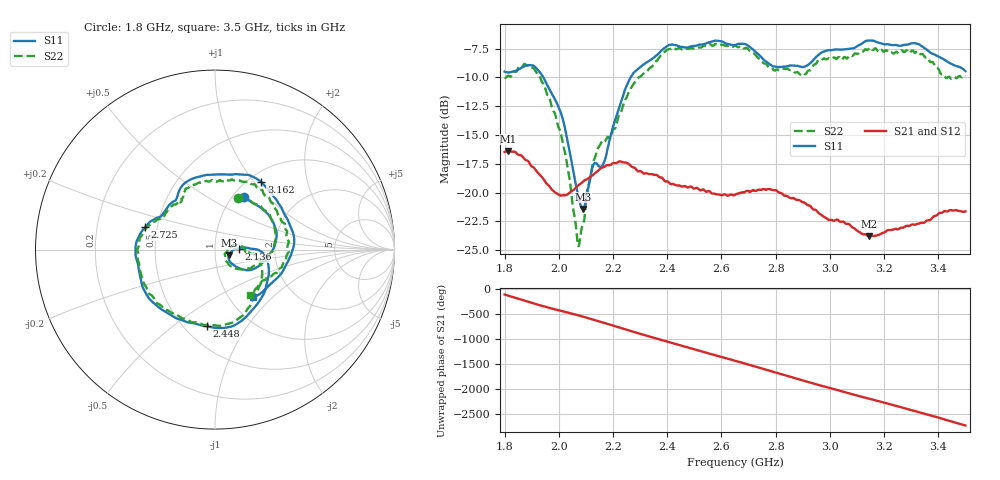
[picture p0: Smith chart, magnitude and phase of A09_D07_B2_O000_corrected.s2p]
! Created with skrf 1.9.0 (http://scikit-rf.org).
# Hz S RI R 50.0
!freq ReS11 ImS11 ReS21 ImS21 ReS12 ImS12 ReS22 ImS22
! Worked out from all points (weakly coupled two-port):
!   1601 points, 1.8 GHz to 3.5 GHz, reference 50 ohm
!   highest |S21| = -16.38 dB at 1.814 GHz (marker M1); lowest = -23.8 dB at 3.144 GHz (marker M2)
!   lowest |S11| = -21.4 dB at 2.089 GHz (marker M3), VSWR 1.19, Z = 58.5 - j3.68 ohm
!   |S11| at or under -10 dB: 1.943 GHz to 2.265 GHz (321.7 MHz wide, 15.3 % of centre)
!   |S22| runs from -24.7 to -7.1 dB; largest |S21 - S12| = 0.0029
!   S11 on the Smith chart (normalised r, x): 1.8 GHz: 1.12, +0.74; 2.136 GHz: 1.31, +0.01; 2.448 GHz: 0.64, -0.67; 2.725 GHz: 0.43, +0.13; 3.162 GHz: 1.14, +1.09; 3.5 GHz: 1.27, -0.76
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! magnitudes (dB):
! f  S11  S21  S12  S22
! 1.8 GHz  -9.5  -16.5  -16.5  -10.0
! 1.814 GHz  -9.6  -16.4  -16.4  -9.8
! 1.879 GHz  -9.0  -17.2  -17.2  -8.9
! 1.942 GHz  -10.0  -18.8  -18.8  -10.5
! 2.011 GHz  -13.3  -20.2  -20.2  -15.3
! 2.068 GHz  -19.8  -19.4  -19.5  -24.0
! 2.084 GHz  -21.3  -19.2  -19.1  -23.2
! 2.089 GHz  -21.4  -19.1  -19.1  -22.8
! 2.136 GHz  -17.4  -18.3  -18.3  -16.8
! 2.167 GHz  -17.4  -17.8  -17.8  -15.5
! 2.265 GHz  -10.0  -17.7  -17.7  -10.9
! 2.367 GHz  -7.9  -18.6  -18.5  -8.4
! 2.448 GHz  -7.3  -19.4  -19.4  -7.5
! 2.65 GHz  -7.2  -20.2  -20.2  -7.2
! 2.725 GHz  -7.8  -19.9  -19.8  -8.0
! 2.798 GHz  -9.1  -19.8  -19.8  -9.4
! 2.934 GHz  -8.6  -21.3  -21.3  -9.2
! 3.144 GHz  -6.8  -23.8  -23.7  -7.5
! 3.162 GHz  -6.8  -23.8  -23.7  -7.6
! 3.217 GHz  -7.1  -23.2  -23.2  -7.8
! 3.324 GHz  -7.1  -22.7  -22.7  -7.7
! 3.5 GHz  -9.4  -21.6  -21.6  -9.9
